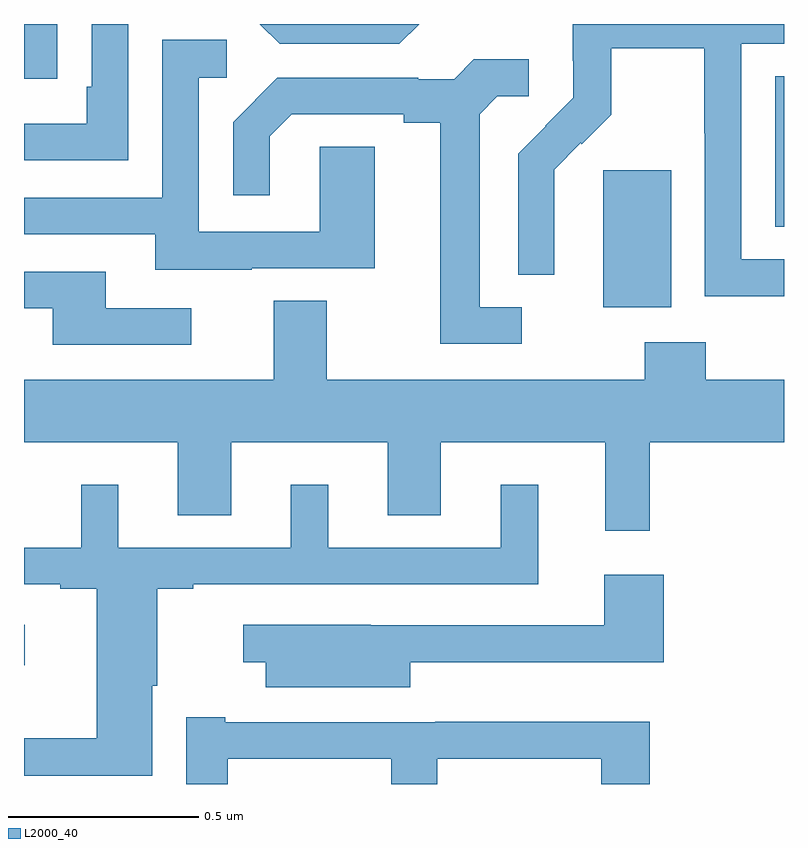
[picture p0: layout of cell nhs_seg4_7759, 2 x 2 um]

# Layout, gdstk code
import gdstk
lib = gdstk.Library(unit=1e-6, precision=1e-09)
def R(c, l, rs):  # rectangles x0, y0, x1, y1
    for r in rs: c.add(gdstk.rectangle(r[:2], r[2:], *l))
def P(c, l, *ps):  # polygons
    for p in ps: c.add(gdstk.Polygon(p, *l))
L2000_40 = (2000, 40)

nhs_seg4_7759 = lib.new_cell('nhs_seg4_7759')
R(nhs_seg4_7759, L2000_40, [(206,816.212,206.002,816.319), (207.524,817.154,207.703,817.515), (207.977,817.366,208,817.763), (206,817.756,206.087,817.9)])
P(nhs_seg4_7759, L2000_40, [(206.274,817.9),(206.178,817.9),(206.178,817.735),(206.165,817.735),(206.165,817.638),(206,817.638),(206,817.542),(206.274,817.542)],
  [(207.04,817.9),(206.621,817.9),(206.673,817.848),(206.988,817.848)],
  [(208,817.281),(207.888,817.281),(207.888,817.848),(208,817.848),(208,817.9),(207.444,817.9),(207.444,817.803),(207.446,817.803),(207.446,817.706),(207.372,817.632),(207.373,817.631),(207.3,817.558),(207.3,817.24),(207.396,817.24),(207.396,817.394),(207.395,817.394),(207.395,817.517),(207.465,817.587),(207.468,817.584),(207.545,817.661),(207.545,817.836),(207.79,817.836),(207.79,817.612),(207.792,817.612),(207.792,817.183),(208,817.183)],
  [(206.599,817.257),(206.923,817.257),(206.923,817.577),(206.778,817.577),(206.778,817.353),(206.46,817.353),(206.46,817.758),(206.533,817.758),(206.533,817.859),(206.364,817.859),(206.364,817.443),(206,817.443),(206,817.347),(206.345,817.347),(206.345,817.253),(206.599,817.253)],
  [(207.31,817.155),(207.199,817.155),(207.199,817.663),(207.246,817.71),(207.328,817.71),(207.328,817.807),(207.184,817.807),(207.132,817.755),(207.038,817.755),(207.038,817.758),(206.666,817.758),(206.55,817.642),(206.55,817.449),(206.647,817.449),(206.647,817.605),(206.704,817.662),(206.999,817.662),(206.999,817.64),(207.095,817.64),(207.095,817.059),(207.31,817.059)],
  [(206.44,817.152),(206.215,817.152),(206.215,817.248),(206,817.248),(206,817.152),(206.075,817.152),(206.075,817.056),(206.44,817.056)],
  [(207.647,816.8),(208,816.8),(208,816.964),(207.794,816.964),(207.794,817.063),(207.634,817.063),(207.634,816.964),(206.797,816.964),(206.797,817.172),(206.657,817.172),(206.657,816.964),(206,816.964),(206,816.8),(206.405,816.8),(206.405,816.607),(206.545,816.607),(206.545,816.8),(206.957,816.8),(206.957,816.607),(207.097,816.607),(207.097,816.8),(207.53,816.8),(207.53,816.567),(207.647,816.567)],
  [(206.338,816.159),(206.35,816.159),(206.35,816.414),(206.446,816.414),(206.446,816.426),(207.353,816.426),(207.353,816.688),(207.254,816.688),(207.254,816.522),(206.8,816.522),(206.8,816.688),(206.702,816.688),(206.702,816.522),(206.248,816.522),(206.248,816.688),(206.15,816.688),(206.15,816.522),(206,816.522),(206,816.426),(206.096,816.426),(206.096,816.414),(206.192,816.414),(206.192,816.02),(206,816.02),(206,815.922),(206.338,815.922)],
  [(207.016,816.221),(207.683,816.221),(207.683,816.451),(207.527,816.451),(207.527,816.318),(206.912,816.318),(206.912,816.319),(206.577,816.319),(206.577,816.221),(206.636,816.221),(206.636,816.155),(207.016,816.155)],
  [(206.536,815.966),(206.967,815.966),(206.967,815.9),(207.088,815.9),(207.088,815.966),(207.519,815.966),(207.519,815.9),(207.647,815.9),(207.647,816.064),(207.082,816.064),(207.082,816.063),(206.53,816.063),(206.53,816.076),(206.427,816.076),(206.427,815.9),(206.536,815.9)])

lib.write_gds('nhs_seg4_7759.gds')
